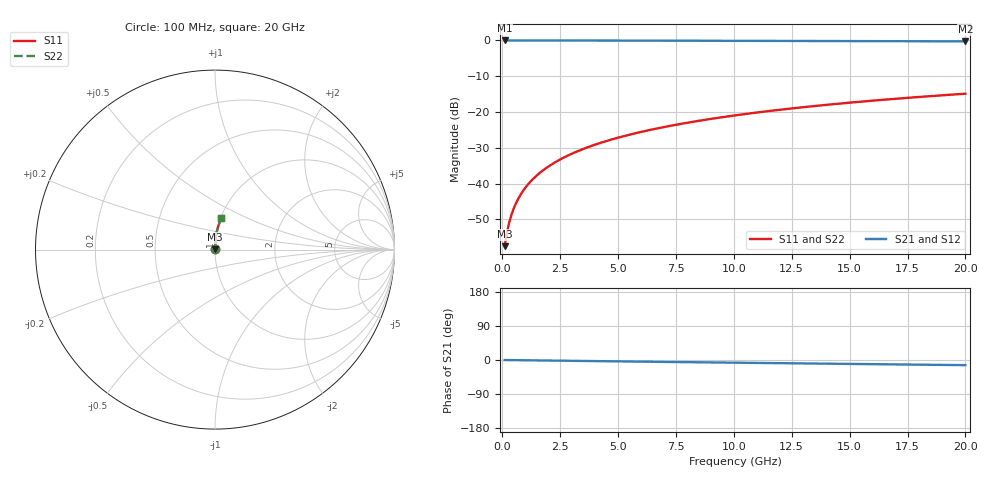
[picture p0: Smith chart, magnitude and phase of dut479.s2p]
! Touchstone file exported from HFSS 2024.1.0
!  File:  C:/UserFiles/LocalFiles/RDL_TSV_Batchsim/temp_RDL_bottom_479_1779686321.aedt
!  Generated:  01:21:24 PM May 25, 2026
!  Design:  RDL_bottom
!  Project:  temp_RDL_bottom_479_1779686321
!  Setup:  Setup1
!  Solution:  Sweep
! Variables:
!  dtsv = 10.80580581um
!  hbump = 3um
!  htsv = 80.7um
!  ldown = 128.78um
!  lrdl = 100um
!  p = 40
!  p1 = 55.3um
!  rhole = 1um
!  t = 450um
!  tdown = 3.58um
!  trdl = 3.915915916um
!  wdown = 16.1um
!  wrdl = 20um
# GHz S MA R 50.000000
! Terminal data exported
! Port[1] = RDL1_T1
! Port[2] = RDL1_T2
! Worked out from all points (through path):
!   200 points, 100 MHz to 20 GHz, reference 50 ohm
!   highest |S21| = -0.01 dB at 100 MHz (marker M1); lowest = -0.3 dB at 20 GHz (marker M2)
!   group delay of S21, straight-line fit = 1.88 ps
!   lowest |S11| = -57.5 dB at 100 MHz (marker M3), VSWR 1.00, Z = 50.1 + j0.0902 ohm
!   |S11| at or under -10 dB: start of sweep to end of sweep
!   |S22| runs from -57.5 to -14.9 dB; largest |S21 - S12| = 6.2e-15
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0.1  0.001332 42.5  0.999 -0.1  0.999 -0.1  0.001332 42.5
! Gamma 0 0 0 0
! Port Impedance 50 0 50 0
0.2  0.002053 60.7  0.999 -0.2  0.999 -0.2  0.002053 60.7
0.3  0.002862 68.9  0.999 -0.2  0.999 -0.2  0.002862 68.9
0.4  0.003693 73.4  0.9989 -0.3  0.9989 -0.3  0.003693 73.4
0.5  0.004532 76.2  0.9989 -0.4  0.9989 -0.4  0.004532 76.2
0.6  0.005374 78.2  0.9988 -0.5  0.9988 -0.5  0.005374 78.2
0.8  0.007067 80.8  0.9988 -0.6  0.9988 -0.6  0.007067 80.8
1.1  0.009622 83.0  0.9987 -0.8  0.9987 -0.8  0.009622 83.0
1.5  0.01305 84.6  0.9985 -1.1  0.9985 -1.1  0.01305 84.6
1.8  0.01564 85.4  0.9983 -1.3  0.9983 -1.3  0.01564 85.4
2.1  0.01823 85.9  0.9981 -1.6  0.9981 -1.6  0.01823 85.9
2.7  0.02344 86.5  0.9977 -2.0  0.9977 -2.0  0.02344 86.5
3.5  0.03044 86.9  0.997 -2.6  0.997 -2.6  0.03044 86.9
4.2  0.03662 87.0  0.9962 -3.1  0.9962 -3.1  0.03662 87.0
5  0.04373 87.0  0.9953 -3.7  0.9953 -3.7  0.04373 87.0
5.9  0.05179 86.8  0.9941 -4.3  0.9941 -4.3  0.05179 86.8
6.8  0.05992 86.5  0.9928 -4.9  0.9928 -4.9  0.05992 86.5
8.3  0.07357 85.9  0.9905 -5.9  0.9905 -5.9  0.07357 85.9
10.1  0.09006 84.9  0.9876 -7.2  0.9876 -7.2  0.09006 84.9
13.4  0.1204 82.9  0.9821 -9.3  0.9821 -9.3  0.1204 82.9
16.7  0.1504 80.7  0.9762 -11.5  0.9762 -11.5  0.1504 80.7
20  0.1799 78.4  0.9698 -13.6  0.9698 -13.6  0.1799 78.4
